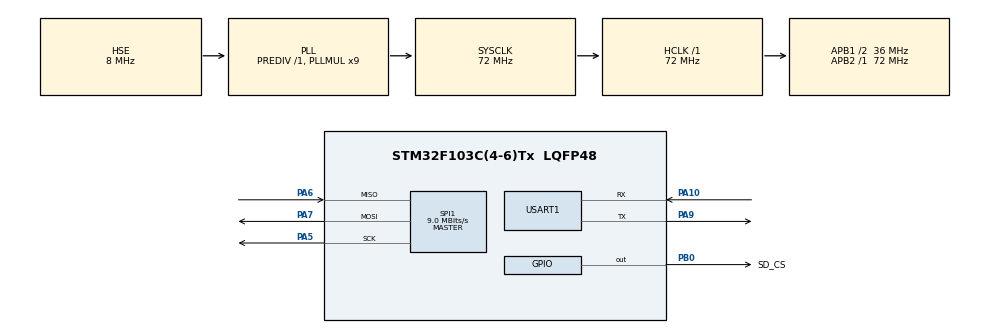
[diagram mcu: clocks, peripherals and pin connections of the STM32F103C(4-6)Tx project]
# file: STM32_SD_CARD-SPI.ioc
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FATFS._MAX_SS=1024
FATFS._USE_LFN=1
Mcu.Family=STM32F1
Mcu.Name=STM32F103C(4-6)Tx
Mcu.Package=LQFP48
NVIC.PriorityGroup=NVIC_PRIORITYGROUP_4
PA10.Mode=Asynchronous
PA10.Signal=USART1_RX
PA13.Mode=Serial_Wire
PA13.Signal=SYS_JTMS-SWDIO
PA14.Mode=Serial_Wire
PA14.Signal=SYS_JTCK-SWCLK
PA5.Mode=Full_Duplex_Master
PA5.Signal=SPI1_SCK
PA6.Mode=Full_Duplex_Master
PA6.Signal=SPI1_MISO
PA7.Mode=Full_Duplex_Master
PA7.Signal=SPI1_MOSI
PA9.Mode=Asynchronous
PA9.Signal=USART1_TX
PB0.GPIO_Label=SD_CS
PB0.GPIO_Speed=GPIO_SPEED_FREQ_MEDIUM
PB0.Signal=GPIO_Output
PD0-OSC_IN.Mode=HSE-External-Oscillator
PD0-OSC_IN.Signal=RCC_OSC_IN
PD1-OSC_OUT.Mode=HSE-External-Oscillator
PD1-OSC_OUT.Signal=RCC_OSC_OUT
ProjectManager.HeapSize=0x200
ProjectManager.StackSize=0x400
ProjectManager.TargetToolchain=SW4STM32
RCC.AHBFreq_Value=72000000
RCC.APB1CLKDivider=RCC_HCLK_DIV2
RCC.APB1Freq_Value=36000000
RCC.APB1TimFreq_Value=72000000
RCC.APB2Freq_Value=72000000
RCC.APB2TimFreq_Value=72000000
RCC.HCLKFreq_Value=72000000
RCC.PLLMUL=RCC_PLL_MUL9
RCC.PLLSourceVirtual=RCC_PLLSOURCE_HSE
RCC.SYSCLKFreq_VALUE=72000000
RCC.SYSCLKSource=RCC_SYSCLKSOURCE_PLLCLK
RCC.USBFreq_Value=72000000
SPI1.BaudRatePrescaler=SPI_BAUDRATEPRESCALER_8
SPI1.CalculateBaudRate=9.0 MBits/s
SPI1.Direction=SPI_DIRECTION_2LINES
SPI1.Mode=SPI_MODE_MASTER
SPI1.VirtualType=VM_MASTER
USART1.VirtualMode=VM_ASYNC
VP_FATFS_VS_Generic.Mode=User_defined
board=custom

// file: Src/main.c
/* USER CODE BEGIN Header */
/**
  ******************************************************************************
  * @file           : main.c
  * @brief          : Main program body
  ******************************************************************************
  * @attention
  *
  * <h2><center>&copy; Copyright (c) 2023 STMicroelectronics.
  * All rights reserved.</center></h2>
  *
  * This software component is licensed by ST under Ultimate Liberty license
  * SLA0044, the "License"; You may not use this file except in compliance with
  * the License. You may obtain a copy of the License at:
  *                             www.st.com/SLA0044
  *
  ******************************************************************************
  */
/* USER CODE END Header */
#include "main.h"
#include "fatfs.h"

/* USER CODE BEGIN Includes */
#include "fatfs_sd.h"

#include <stdio.h>
#include <string.h>
#include <stdarg.h> //for va_list var arg functions
/* USER CODE END Includes */

SPI_HandleTypeDef hspi1;

UART_HandleTypeDef huart1;

void SystemClock_Config(void);
static void MX_GPIO_Init(void);
static void MX_SPI1_Init(void);
static void MX_USART1_UART_Init(void);
/* USER CODE BEGIN PFP */
void myprintf(const char *fmt, ...);

/* USER CODE END PFP */

/* USER CODE BEGIN 0 */
char USBHPath[4];   /* USBH logical drive path */
FATFS fs;  // file system
FIL fil; // File
FILINFO fno;
FRESULT fresult;  // result
UINT br, bw;  // File read/write count

/**** capacity related *****/
FATFS *pfs;
DWORD fre_clust;
uint32_t total, free_space;

#define BUFFER_SIZE 128
char buffer[BUFFER_SIZE];  // to store strings..

int i=0;

int bufsize (char *buf)
{
//	int i;
//	while (*buf++ != '\0') i++;
	for(int i=0;*buf++ != '\0';i++);
	return i;
}

void clear_buffer (void)
{
	for (int i=0; i<BUFFER_SIZE; i++){
		buffer[i] = '\0';  // null end
 	}
}

void send_uart (char *string)
{
	uint8_t len = strlen (string);
	HAL_UART_Transmit(&huart1, (uint8_t *) string, len, HAL_MAX_DELAY);  // transmit in blocking mode
}

void myprintf(const char *fmt, ...) {
  static char buffer[256];
  va_list args;
  va_start(args, fmt);
  vsnprintf(buffer, sizeof(buffer), fmt, args);
  va_end(args);

  int len = strlen(buffer);
  HAL_UART_Transmit(&huart1, (uint8_t*)buffer, len, -1);

}
/* USER CODE END 0 */

int main(void)
{

  /* MCU Configuration--------------------------------------------------------*/

  /* Reset of all peripherals, Initializes the Flash interface and the Systick. */
  HAL_Init();

  /* Configure the system clock */
  SystemClock_Config();

  /* Initialize all configured peripherals */
  MX_GPIO_Init();
  MX_SPI1_Init();
  MX_USART1_UART_Init();
  MX_FATFS_Init();
  /* USER CODE BEGIN 2 */
  HAL_Delay (500);

  Mount_USB();
  get_space();
  Create_Dir("/DIR1");
  Create_Dir("/DIR2");
  create_file1("DIR1FILE.txt");

  create_file2("DIR2FILE.txt");

  update_file("DIR1FILE.txt");

  remove_file("DIR2FILE.txt");
  /* USER CODE END 2 */

  /* Infinite loop */
  while (1)
  {

  }
}

void SystemClock_Config(void)
{
  RCC_OscInitTypeDef RCC_OscInitStruct = {0};
  RCC_ClkInitTypeDef RCC_ClkInitStruct = {0};

  /** Initializes the RCC Oscillators according to the specified parameters
  * in the RCC_OscInitTypeDef structure.
  */
  RCC_OscInitStruct.OscillatorType = RCC_OSCILLATORTYPE_HSE;
  RCC_OscInitStruct.HSEState = RCC_HSE_ON;
  RCC_OscInitStruct.HSEPredivValue = RCC_HSE_PREDIV_DIV1;
  RCC_OscInitStruct.HSIState = RCC_HSI_ON;
  RCC_OscInitStruct.PLL.PLLState = RCC_PLL_ON;
  RCC_OscInitStruct.PLL.PLLSource = RCC_PLLSOURCE_HSE;
  RCC_OscInitStruct.PLL.PLLMUL = RCC_PLL_MUL9;
  if (HAL_RCC_OscConfig(&RCC_OscInitStruct) != HAL_OK)
  {
    Error_Handler();
  }
  /** Initializes the CPU, AHB and APB buses clocks
  */
  RCC_ClkInitStruct.ClockType = RCC_CLOCKTYPE_HCLK|RCC_CLOCKTYPE_SYSCLK
                              |RCC_CLOCKTYPE_PCLK1|RCC_CLOCKTYPE_PCLK2;
  RCC_ClkInitStruct.SYSCLKSource = RCC_SYSCLKSOURCE_PLLCLK;
  RCC_ClkInitStruct.AHBCLKDivider = RCC_SYSCLK_DIV1;
  RCC_ClkInitStruct.APB1CLKDivider = RCC_HCLK_DIV2;
  RCC_ClkInitStruct.APB2CLKDivider = RCC_HCLK_DIV1;

  if (HAL_RCC_ClockConfig(&RCC_ClkInitStruct, FLASH_LATENCY_2) != HAL_OK)
  {
    Error_Handler();
  }
}

static void MX_SPI1_Init(void)
{

  /* SPI1 parameter configuration*/
  hspi1.Instance = SPI1;
  hspi1.Init.Mode = SPI_MODE_MASTER;
  hspi1.Init.Direction = SPI_DIRECTION_2LINES;
  hspi1.Init.DataSize = SPI_DATASIZE_8BIT;
  hspi1.Init.CLKPolarity = SPI_POLARITY_LOW;
  hspi1.Init.CLKPhase = SPI_PHASE_1EDGE;
  hspi1.Init.NSS = SPI_NSS_SOFT;
  hspi1.Init.BaudRatePrescaler = SPI_BAUDRATEPRESCALER_8;
  hspi1.Init.FirstBit = SPI_FIRSTBIT_MSB;
  hspi1.Init.TIMode = SPI_TIMODE_DISABLE;
  hspi1.Init.CRCCalculation = SPI_CRCCALCULATION_DISABLE;
  hspi1.Init.CRCPolynomial = 10;
  if (HAL_SPI_Init(&hspi1) != HAL_OK)
  {
    Error_Handler();
  }

}

static void MX_USART1_UART_Init(void)
{

  huart1.Instance = USART1;
  huart1.Init.BaudRate = 115200;
  huart1.Init.WordLength = UART_WORDLENGTH_8B;
  huart1.Init.StopBits = UART_STOPBITS_1;
  huart1.Init.Parity = UART_PARITY_NONE;
  huart1.Init.Mode = UART_MODE_TX_RX;
  huart1.Init.HwFlowCtl = UART_HWCONTROL_NONE;
  huart1.Init.OverSampling = UART_OVERSAMPLING_16;
  if (HAL_UART_Init(&huart1) != HAL_OK)
  {
    Error_Handler();
  }

}

static void MX_GPIO_Init(void)
{
  GPIO_InitTypeDef GPIO_InitStruct = {0};

  /* GPIO Ports Clock Enable */
  __HAL_RCC_GPIOD_CLK_ENABLE();
  __HAL_RCC_GPIOA_CLK_ENABLE();
  __HAL_RCC_GPIOB_CLK_ENABLE();

  /*Configure GPIO pin Output Level */
  HAL_GPIO_WritePin(SD_CS_GPIO_Port, SD_CS_Pin, GPIO_PIN_RESET);

  /*Configure GPIO pin : SD_CS_Pin */
  GPIO_InitStruct.Pin = SD_CS_Pin;
  GPIO_InitStruct.Mode = GPIO_MODE_OUTPUT_PP;
  GPIO_InitStruct.Pull = GPIO_NOPULL;
  GPIO_InitStruct.Speed = GPIO_SPEED_FREQ_MEDIUM;
  HAL_GPIO_Init(SD_CS_GPIO_Port, &GPIO_InitStruct);

}

/* USER CODE BEGIN 4 */
void Mount_USB(void){

//	fresult = f_mount(&fs, "/", 1);
//	fresult = f_mount(&fs, "", 0);
	fresult = f_mount(&fs, (TCHAR const*) USBHPath, 0);
	    	if (fresult != FR_OK) {
	    		send_uart ("ERROR!!! in mounting SD CARD...\n\n");
	    	}
	    	else{
	    		send_uart("SD CARD mounted successfully...\n\n");
	    	}

}

void Unmount_USB (void)
{
	fresult = f_mount(NULL, USBHPath, 1);
	if (fresult == FR_OK){

		send_uart("USB UNMOUNTED successfully...\n\n\n");
	}
	else{

		send_uart("ERROR!!! in UNMOUNTING USB \n\n\n");
	}
}

void get_space(void){
	/*************** Card capacity details ********************/

	/* Check free space */
	f_getfree("", &fre_clust, &pfs);

	total = (uint32_t)((pfs->n_fatent - 2) * pfs->csize * 0.5);
	sprintf (buffer, "SD CARD Total Size: \t%lu\n",total);
	send_uart(buffer);
	clear_buffer();
	free_space = (uint32_t)(fre_clust * pfs->csize * 0.5);
	sprintf (buffer, "SD CARD Free Space: \t%lu\n\n",free_space);
	send_uart(buffer);
	clear_buffer();

}

void create_file1(char *name){

	/************* The following operation is using PUTS and GETS *********************/

	    	/* Open file to write/ create a file if it doesn't exist */
	        fresult = f_open(&fil, name, FA_OPEN_ALWAYS | FA_READ | FA_WRITE);

	    	/* Writing text */
	    	f_puts("FILE was written using ...f_puts... ", &fil);

	    	/* Close file */
	    	fresult = f_close(&fil);

	    	if (fresult == FR_OK){
	    		send_uart("FILE created and the data is written \n");
	    	}

	    	/* Open file to read */
	    	fresult = f_open(&fil, name, FA_READ);

	    	/* Read string from the file */
	    	f_gets(buffer, f_size(&fil), &fil);

	    	send_uart("FILE is opened and it contains the data as shown below\n");
	    	send_uart(buffer);
	    	send_uart("\n\n");

	    	/* Close file */
	    	f_close(&fil);

	    	clear_buffer();
}
void create_file2(char *name){
	    	/**************** The following operation is using f_write and f_read **************************/

	    	    	/* Create second file with read write access and open it */
	    	    	fresult = f_open(&fil, name, FA_CREATE_ALWAYS | FA_WRITE);

	    	    	/* Writing text */
	    	    	strcpy (buffer, "This File written using ...f_write..\n");

	    	    	fresult = f_write(&fil, buffer, bufsize(buffer), &bw);

	    	    	send_uart("File created and data is written\n");

	    	    	/* Close file */
	    	    	f_close(&fil);

	    	    	// clearing buffer to show that result obtained is from the file
	    	    	clear_buffer();

	    	    	/* Open second file to read */
	    	    	fresult = f_open(&fil, name, FA_READ);
	    	    	if (fresult == FR_OK){
	    	    		send_uart("File is open and the data is shown below\n");
	    	    	}

	    	    	/* Read data from the file
	    	    	 * Please see the function details for the arguments */
	    	    	f_read (&fil, buffer, f_size(&fil), &br);
	    	    	send_uart(buffer);
	    	    	send_uart("\n\n");

	    	    	/* Close file */
	    	    	f_close(&fil);

	    	    	clear_buffer();

}

void update_file(char *name){

   	/*********************UPDATING an existing file ***************************/

    	/* Open the file with write access */
    	fresult = f_open(&fil, name, FA_OPEN_EXISTING | FA_READ | FA_WRITE);

    	/* Move to offset to the end of the file */
    	fresult = f_lseek(&fil, f_size(&fil));

    	if (fresult == FR_OK){
    		send_uart ("About to update the file\n");
    	}

    	/* write the string to the file */
    	fresult = f_puts("This updated data  & data overwritten\r\n", &fil);

    	f_close (&fil);

    	clear_buffer();

    	/* Open to read the file */
    	fresult = f_open (&fil, name, FA_READ);

    	/* Read string from the file */
    	fresult = f_read (&fil, buffer, f_size(&fil), &br);
    	if (fresult == FR_OK){
    		send_uart ("Below is the data from updated file\n");
    	}
    	send_uart(buffer);
    	send_uart("\n\n");

    	/* Close file */
    	f_close(&fil);

    	clear_buffer();
}

void remove_file(char *name){

	    	/*************************REMOVING FILES FROM THE DIRECTORY ****************************/

	    	fresult = f_unlink(name);
	    	if (fresult == FR_OK) {
	    		send_uart("file removed successfully...\n");
	    	}

	    	/* Unmount SDCARD */
	    	fresult = f_mount(NULL, "/", 1);
	    	if (fresult == FR_OK){
	    		send_uart ("SD CARD UNMOUNTED successfully...\n");
	    	}
}

void Create_Dir (char *name){
	fresult = f_mkdir(name);
    if (fresult == FR_OK)
    {

    	sprintf (buffer, "*%s* has been created successfully\n\n", name);
    	send_uart(buffer);

    }
    else
    {

    	sprintf (buffer, "ERROR No. %d in creating directory *%s*\n\n", fresult,name);
    	send_uart(buffer);

    }
//    return fresult;

}
/* USER CODE END 4 */

void Error_Handler(void)
{
  __disable_irq();
  while (1)
  {
  }
}

/************************ (C) COPYRIGHT STMicroelectronics *****END OF FILE****/
